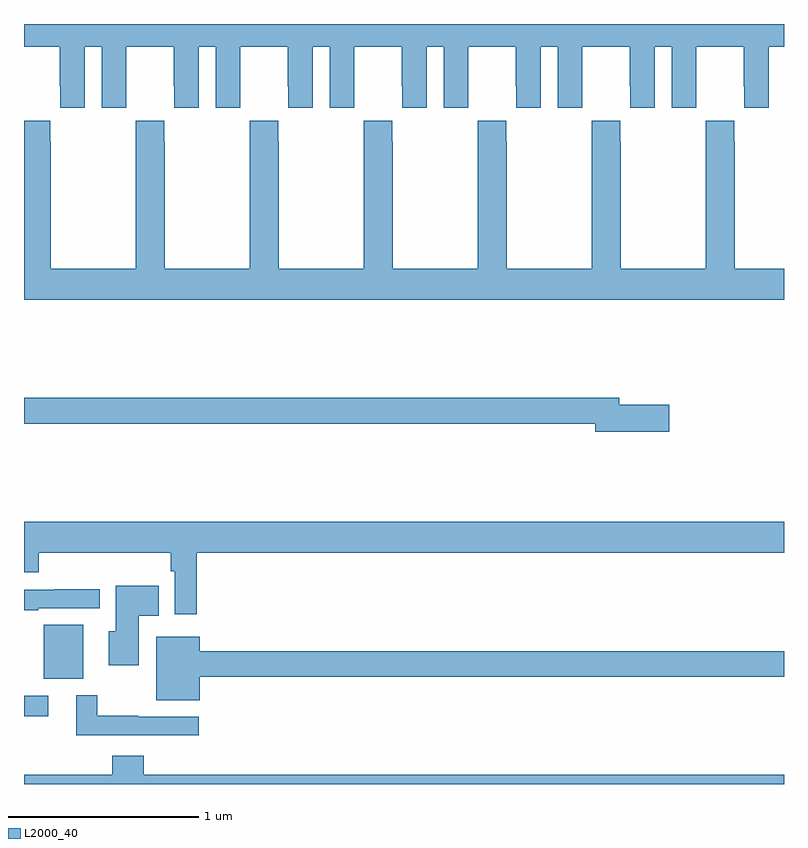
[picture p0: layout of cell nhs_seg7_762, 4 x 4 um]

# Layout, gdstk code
import gdstk
lib = gdstk.Library(unit=1e-6, precision=1e-09)
def R(c, l, rs):  # rectangles x0, y0, x1, y1
    for r in rs: c.add(gdstk.rectangle(r[:2], r[2:], *l))
def P(c, l, *ps):  # polygons
    for p in ps: c.add(gdstk.Polygon(p, *l))
L2000_40 = (2000, 40)

nhs_seg7_762 = lib.new_cell('nhs_seg7_762')
R(nhs_seg7_762, L2000_40, [(167,1066.356,167.128,1066.464), (167.105,1066.553,167.311,1066.837)])
P(nhs_seg7_762, L2000_40, [(167,1069.88),(167.189,1069.88),(167.189,1069.672),(167.19,1069.672),(167.19,1069.56),(167.32,1069.56),(167.32,1069.88),(167.408,1069.88),(167.408,1069.56),(167.538,1069.56),(167.538,1069.672),(167.539,1069.672),(167.539,1069.88),(167.789,1069.88),(167.789,1069.672),(167.79,1069.672),(167.79,1069.56),(167.92,1069.56),(167.92,1069.88),(168.008,1069.88),(168.008,1069.56),(168.138,1069.56),(168.138,1069.672),(168.139,1069.672),(168.139,1069.88),(168.389,1069.88),(168.389,1069.672),(168.39,1069.672),(168.39,1069.56),(168.52,1069.56),(168.52,1069.88),(168.608,1069.88),(168.608,1069.56),(168.738,1069.56),(168.738,1069.672),(168.739,1069.672),(168.739,1069.88),(168.989,1069.88),(168.989,1069.672),(168.99,1069.672),(168.99,1069.56),(169.12,1069.56),(169.12,1069.88),(169.208,1069.88),(169.208,1069.56),(169.338,1069.56),(169.338,1069.672),(169.339,1069.672),(169.339,1069.88),(169.589,1069.88),(169.589,1069.672),(169.59,1069.672),(169.59,1069.56),(169.72,1069.56),(169.72,1069.88),(169.808,1069.88),(169.808,1069.56),(169.938,1069.56),(169.938,1069.672),(169.939,1069.672),(169.939,1069.88),(170.189,1069.88),(170.189,1069.672),(170.19,1069.672),(170.19,1069.56),(170.32,1069.56),(170.32,1069.88),(170.408,1069.88),(170.408,1069.56),(170.538,1069.56),(170.538,1069.672),(170.539,1069.672),(170.539,1069.88),(170.789,1069.88),(170.789,1069.672),(170.79,1069.672),(170.79,1069.56),(170.92,1069.56),(170.92,1069.88),(171,1069.88),(171,1070),(167,1070)],
  [(170.589,1069.492),(170.589,1069.379),(170.587,1069.379),(170.587,1068.712),(170.142,1068.712),(170.142,1069.379),(170.139,1069.379),(170.139,1069.492),(169.989,1069.492),(169.989,1069.379),(169.987,1069.379),(169.987,1068.712),(169.542,1068.712),(169.542,1069.379),(169.539,1069.379),(169.539,1069.492),(169.389,1069.492),(169.389,1069.379),(169.387,1069.379),(169.387,1068.712),(168.942,1068.712),(168.942,1069.379),(168.939,1069.379),(168.939,1069.492),(168.789,1069.492),(168.789,1069.379),(168.787,1069.379),(168.787,1068.712),(168.342,1068.712),(168.342,1069.379),(168.339,1069.379),(168.339,1069.492),(168.189,1069.492),(168.189,1069.379),(168.187,1069.379),(168.187,1068.712),(167.742,1068.712),(167.742,1069.379),(167.739,1069.379),(167.739,1069.492),(167.589,1069.492),(167.589,1069.379),(167.587,1069.379),(167.587,1068.712),(167.142,1068.712),(167.142,1069.379),(167.139,1069.379),(167.139,1069.492),(167,1069.492),(167,1068.548),(171,1068.548),(171,1068.712),(170.742,1068.712),(170.742,1069.379),(170.739,1069.379),(170.739,1069.492)],
  [(170.395,1067.996),(170.134,1067.996),(170.134,1068.032),(167,1068.032),(167,1067.896),(170.006,1067.896),(170.006,1067.854),(170.395,1067.854)],
  [(167.909,1067.216),(171,1067.216),(171,1067.38),(167,1067.38),(167,1067.114),(167.078,1067.114),(167.078,1067.216),(167.773,1067.216),(167.773,1067.12),(167.793,1067.12),(167.793,1066.893),(167.909,1066.893)],
  [(167.605,1066.886),(167.708,1066.886),(167.708,1067.044),(167.483,1067.044),(167.483,1066.803),(167.447,1066.803),(167.447,1066.625),(167.605,1066.625)],
  [(167.074,1066.926),(167.398,1066.926),(167.398,1067.024),(167.161,1067.024),(167.161,1067.022),(167,1067.022),(167,1066.914),(167.074,1066.914)],
  [(167.926,1066.564),(171,1066.564),(171,1066.7),(167.926,1066.7),(167.926,1066.774),(167.696,1066.774),(167.696,1066.442),(167.926,1066.442)],
  [(167.92,1066.353),(167.6,1066.353),(167.6,1066.358),(167.386,1066.358),(167.386,1066.468),(167.276,1066.468),(167.276,1066.257),(167.92,1066.257)],
  [(171,1066.048),(167.63,1066.048),(167.63,1066.15),(167.465,1066.15),(167.465,1066.048),(167,1066.048),(167,1066),(171,1066)])

lib.write_gds('nhs_seg7_762.gds')
